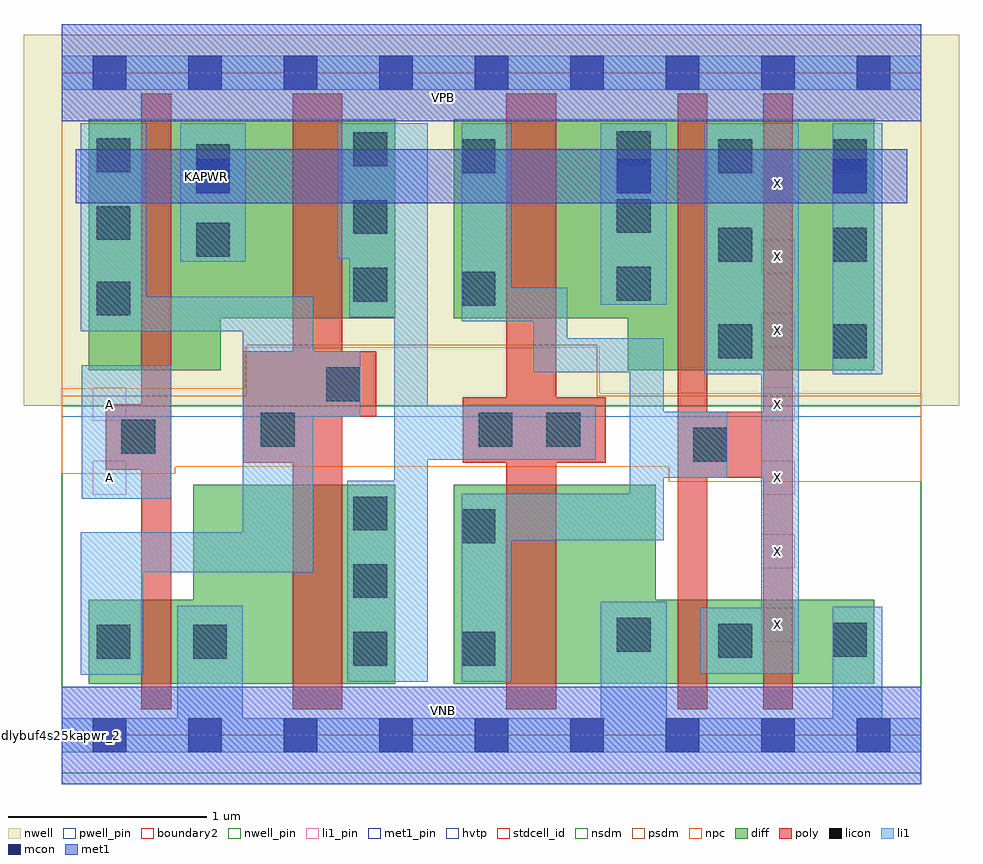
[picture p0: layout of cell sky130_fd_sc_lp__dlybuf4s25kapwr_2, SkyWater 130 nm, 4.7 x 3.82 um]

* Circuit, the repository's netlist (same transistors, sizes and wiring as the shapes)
* Copyright 2020 The SkyWater PDK Authors
*
* Licensed under the Apache License, Version 2.0 (the "License");
* you may not use this file except in compliance with the License.
* You may obtain a copy of the License at
*
*     https://www.apache.org/licenses/LICENSE-2.0
*
* Unless required by applicable law or agreed to in writing, software
* distributed under the License is distributed on an "AS IS" BASIS,
* WITHOUT WARRANTIES OR CONDITIONS OF ANY KIND, either express or implied.
* See the License for the specific language governing permissions and
* limitations under the License.
*
* SPDX-License-Identifier: Apache-2.0

.SUBCKT sky130_fd_sc_lp__dlybuf4s25kapwr_2 A KAPWR VGND VNB VPB VPWR X
*.PININFO A:I KAPWR:I VGND:I VNB:I VPB:I VPWR:I X:O
MMIP1 X Ab KAPWR VPB sky130_fd_pr__pfet_01v8_hvt m=2 w=1.26U l=0.15U mult=1 sa=0.265
+ sb=0.265 sd=0.28 area=0.063 perim=1.14
MMIP0 net56 A KAPWR VPB sky130_fd_pr__pfet_01v8_hvt m=1 w=1.26U l=0.15U mult=1
+ sa=0.265 sb=0.265 sd=0.28 area=0.063 perim=1.14
MI10 net52 net56 KAPWR VPB sky130_fd_pr__pfet_01v8_hvt m=1 w=1.0U l=0.25U mult=1
+ sa=0.265 sb=0.265 sd=0.28 area=0.063 perim=1.14
MI12 Ab net52 KAPWR VPB sky130_fd_pr__pfet_01v8_hvt m=1 w=1.0U l=0.25U mult=1 sa=0.265
+ sb=0.265 sd=0.28 area=0.063 perim=1.14
MI7 X Ab VGND VNB sky130_fd_pr__nfet_01v8 m=2 w=0.42U l=0.15U mult=1 sa=0.265 sb=0.265
+ sd=0.28 area=0.063 perim=1.14
MMIN0 net56 A VGND VNB sky130_fd_pr__nfet_01v8 m=1 w=0.42U l=0.15U mult=1 sa=0.265
+ sb=0.265 sd=0.28 area=0.063 perim=1.14
MI9 net52 net56 VGND VNB sky130_fd_pr__nfet_01v8 m=1 w=1.0U l=0.25U mult=1 sa=0.265
+ sb=0.265 sd=0.28 area=0.063 perim=1.14
MI11 Ab net52 VGND VNB sky130_fd_pr__nfet_01v8 m=1 w=1.0U l=0.25U mult=1 sa=0.265
+ sb=0.265 sd=0.28 area=0.063 perim=1.14
.ENDS sky130_fd_sc_lp__dlybuf4s25kapwr_2

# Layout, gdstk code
import gdstk
lib = gdstk.Library(unit=1e-6, precision=1e-09)
def R(c, l, rs):  # rectangles x0, y0, x1, y1
    for r in rs: c.add(gdstk.rectangle(r[:2], r[2:], *l))
def A(c, l, x, y, w, h, nx, ny, dx, dy):  # array of equal rectangles
    R(c, l, [(x+i*dx, y+j*dy, x+i*dx+w, y+j*dy+h) for i in range(nx) for j in range(ny)])
def P(c, l, *ps):  # polygons
    for p in ps: c.add(gdstk.Polygon(p, *l))
nwell_pin = (64, 16)
nwell = (64, 20)
diff = (65, 20)
poly = (66, 20)
licon = (66, 44)
li1_pin = (67, 16)
li1 = (67, 20)
mcon = (67, 44)
met1_pin = (68, 16)
met1 = (68, 20)
hvtp = (78, 44)
stdcell_id = (81, 4)
nsdm = (93, 44)
psdm = (94, 20)
npc = (95, 20)
pwell_pin = (122, 16)
boundary2 = (236, 0)

sky130_fd_sc_lp__dlybuf4 = lib.new_cell('sky130_fd_sc_lp__dlybuf4s25kapwr_2')
R(sky130_fd_sc_lp__dlybuf4, nwell_pin, [(0,3.085,4.32,3.33)])
R(sky130_fd_sc_lp__dlybuf4, nwell, [(-0.19,1.655,4.51,3.52)])
P(sky130_fd_sc_lp__dlybuf4, diff, [(1.675,3.095),(0.135,3.095),(0.135,1.835),(0.8,1.835),(0.8,2.095),(1.675,2.095)],
  [(1.675,1.26),(0.66,1.26),(0.66,0.68),(0.135,0.68),(0.135,0.26),(1.675,0.26)],
  [(4.085,3.095),(1.97,3.095),(1.97,2.095),(2.845,2.095),(2.845,1.835),(4.085,1.835)],
  [(4.085,0.68),(2.985,0.68),(2.985,1.26),(1.97,1.26),(1.97,0.26),(4.085,0.26)])
P(sky130_fd_sc_lp__dlybuf4, poly, [(0.55,3.225),(0.4,3.225),(0.4,1.665),(0.22,1.665),(0.22,1.335),(0.4,1.335),(0.4,0.13),(0.55,0.13)],
  [(1.58,1.93),(1.41,1.93),(1.41,3.225),(1.16,3.225),(1.16,1.93),(0.91,1.93),(0.91,1.37),(1.16,1.37),(1.16,0.13),(1.41,0.13),(1.41,1.6),(1.58,1.6)],
  [(2.735,1.7),(2.485,1.7),(2.485,3.225),(2.235,3.225),(2.235,1.7),(2.015,1.7),(2.015,1.37),(2.235,1.37),(2.235,0.13),(2.485,0.13),(2.485,1.37),(2.735,1.37)],
  [(3.675,3.225),(3.525,3.225),(3.525,1.625),(3.245,1.625),(3.245,3.225),(3.095,3.225),(3.095,0.13),(3.245,0.13),(3.245,1.295),(3.525,1.295),(3.525,0.13),(3.675,0.13)])
A(sky130_fd_sc_lp__dlybuf4, licon, 1.465, 0.35, 0.17, 0.17, 1, 3, 0, 0.34)
A(sky130_fd_sc_lp__dlybuf4, licon, 1.465, 2.18, 0.17, 0.17, 1, 3, 0, 0.34)
A(sky130_fd_sc_lp__dlybuf4, licon, 2.79, 2.185, 0.17, 0.17, 1, 3, 0, 0.34)
R(sky130_fd_sc_lp__dlybuf4, licon, [(2.01,0.35,2.18,0.52), (0.175,0.385,0.345,0.555), (0.66,0.385,0.83,0.555), (3.3,0.39,3.47,0.56), (3.875,0.395,4.045,0.565), (2.79,0.42,2.96,0.59), (2.01,0.965,2.18,1.135), (3.175,1.375,3.345,1.545), (0.3,1.415,0.47,1.585), (1,1.45,1.17,1.62), (2.095,1.45,2.265,1.62), (2.435,1.45,2.605,1.62), (1.33,1.68,1.5,1.85), (3.3,1.895,3.47,2.065), (3.875,1.895,4.045,2.065), (0.175,2.11,0.345,2.28), (2.01,2.16,2.18,2.33), (3.3,2.38,3.47,2.55), (3.875,2.38,4.045,2.55), (0.675,2.405,0.845,2.575), (0.175,2.49,0.345,2.66), (0.675,2.8,0.845,2.97), (2.01,2.825,2.18,2.995), (3.3,2.825,3.47,2.995), (3.875,2.825,4.045,2.995), (0.175,2.83,0.345,3)])
A(sky130_fd_sc_lp__dlybuf4, li1_pin, 3.515, 0.47, 0.17, 0.17, 1, 7, 0, 0.37)
R(sky130_fd_sc_lp__dlybuf4, li1_pin, [(0.155,1.21,0.325,1.38), (0.155,1.58,0.325,1.75)])
R(sky130_fd_sc_lp__dlybuf4, li1, [(0.1,1.19,0.55,1.86), (3.875,1.815,4.125,3.075), (2.71,2.165,3.04,3.075), (0.595,2.38,0.925,3.075), (0,3.245,4.32,3.415)])
P(sky130_fd_sc_lp__dlybuf4, li1, [(1.5,1.93),(1.265,1.93),(1.265,2.205),(0.425,2.205),(0.425,3.075),(0.095,3.075),(0.095,2.03),(0.91,2.03),(0.91,1.02),(0.095,1.02),(0.095,0.305),(0.41,0.305),(0.41,0.82),(1.265,0.82),(1.265,1.6),(1.5,1.6)],
  [(3.705,3.075),(3.23,3.075),(3.23,1.815),(3.515,1.815),(3.515,0.64),(3.21,0.64),(3.21,0.31),(3.705,0.31)],
  [(2.685,1.655),(1.84,1.655),(1.84,3.075),(1.385,3.075),(1.385,2.395),(1.445,2.395),(1.445,2.1),(1.67,2.1),(1.67,1.28),(1.435,1.28),(1.435,0.27),(1.84,0.27),(1.84,1.385),(2.685,1.385)],
  [(3.345,1.625),(3.025,1.625),(3.025,1.995),(2.54,1.995),(2.54,2.25),(2.26,2.25),(2.26,3.075),(2.01,3.075),(2.01,2.08),(2.37,2.08),(2.37,1.825),(2.855,1.825),(2.855,1.215),(2.01,1.215),(2.01,0.27),(2.26,0.27),(2.26,0.98),(3.025,0.98),(3.025,1.295),(3.345,1.295)],
  [(4.32,0.085),(4.125,0.085),(4.125,0.645),(3.875,0.645),(3.875,0.085),(3.04,0.085),(3.04,0.67),(2.71,0.67),(2.71,0.085),(0.91,0.085),(0.91,0.65),(0.58,0.65),(0.58,0.085),(0,0.085),(0,-0.085),(4.32,-0.085)])
A(sky130_fd_sc_lp__dlybuf4, mcon, 0.155, -0.085, 0.17, 0.17, 9, 2, 0.48, 3.33)
R(sky130_fd_sc_lp__dlybuf4, mcon, [(0.675,2.725,0.845,2.895), (2.79,2.725,2.96,2.895), (3.875,2.725,4.045,2.895)])
R(sky130_fd_sc_lp__dlybuf4, met1_pin, [(0,0,4.32,0.245), (0.07,2.675,4.25,2.945), (0,3.085,4.32,3.33)])
R(sky130_fd_sc_lp__dlybuf4, met1, [(0,-0.245,4.32,0.245), (0.07,2.675,4.25,2.945), (0,3.085,4.32,3.575)])
R(sky130_fd_sc_lp__dlybuf4, hvtp, [(0,1.6,4.32,3.33)])
R(sky130_fd_sc_lp__dlybuf4, stdcell_id, [(0,0,4.32,3.33)])
R(sky130_fd_sc_lp__dlybuf4, nsdm, [(0,-0.19,4.32,1.655)])
P(sky130_fd_sc_lp__dlybuf4, psdm, [(4.32,3.52),(0,3.52),(0,1.705),(0.93,1.705),(0.93,1.96),(2.69,1.96),(2.69,1.705),(4.32,1.705)])
P(sky130_fd_sc_lp__dlybuf4, npc, [(4.32,1.72),(2.705,1.72),(2.705,1.95),(0.92,1.95),(0.92,1.745),(0,1.745),(0,1.315),(0.57,1.315),(0.57,1.35),(3.05,1.35),(3.05,1.275),(4.32,1.275)])
R(sky130_fd_sc_lp__dlybuf4, pwell_pin, [(0,0,4.32,0.245)])
R(sky130_fd_sc_lp__dlybuf4, boundary2, [(0,0,4.32,3.33)])
sky130_fd_sc_lp__dlybuf4.add(gdstk.Label('VNB', (1.92,0.123), layer=64, texttype=59))
sky130_fd_sc_lp__dlybuf4.add(gdstk.Label('VPB', (1.92,3.208), layer=64, texttype=5))
sky130_fd_sc_lp__dlybuf4.add(gdstk.Label('dlybuf4s25kapwr_2', (0,0), layer=83, texttype=44))
sky130_fd_sc_lp__dlybuf4.add(gdstk.Label('KAPWR', (0.725,2.81), layer=68, texttype=5))
sky130_fd_sc_lp__dlybuf4.add(gdstk.Label('VGND', (1.92,0.123), layer=68, texttype=5))
sky130_fd_sc_lp__dlybuf4.add(gdstk.Label('VPWR', (1.92,3.208), layer=68, texttype=5))
sky130_fd_sc_lp__dlybuf4.add(gdstk.Label('A', (0.24,1.295), layer=67, texttype=5))
sky130_fd_sc_lp__dlybuf4.add(gdstk.Label('A', (0.24,1.665), layer=67, texttype=5))
sky130_fd_sc_lp__dlybuf4.add(gdstk.Label('X', (3.6,2.405), layer=67, texttype=5))
sky130_fd_sc_lp__dlybuf4.add(gdstk.Label('X', (3.6,2.035), layer=67, texttype=5))
sky130_fd_sc_lp__dlybuf4.add(gdstk.Label('X', (3.6,0.925), layer=67, texttype=5))
sky130_fd_sc_lp__dlybuf4.add(gdstk.Label('X', (3.6,1.665), layer=67, texttype=5))
sky130_fd_sc_lp__dlybuf4.add(gdstk.Label('X', (3.6,0.555), layer=67, texttype=5))
sky130_fd_sc_lp__dlybuf4.add(gdstk.Label('X', (3.6,1.295), layer=67, texttype=5))
sky130_fd_sc_lp__dlybuf4.add(gdstk.Label('X', (3.6,2.775), layer=67, texttype=5))

lib.write_gds('sky130_fd_sc_lp__dlybuf4s25kapwr_2.gds')
